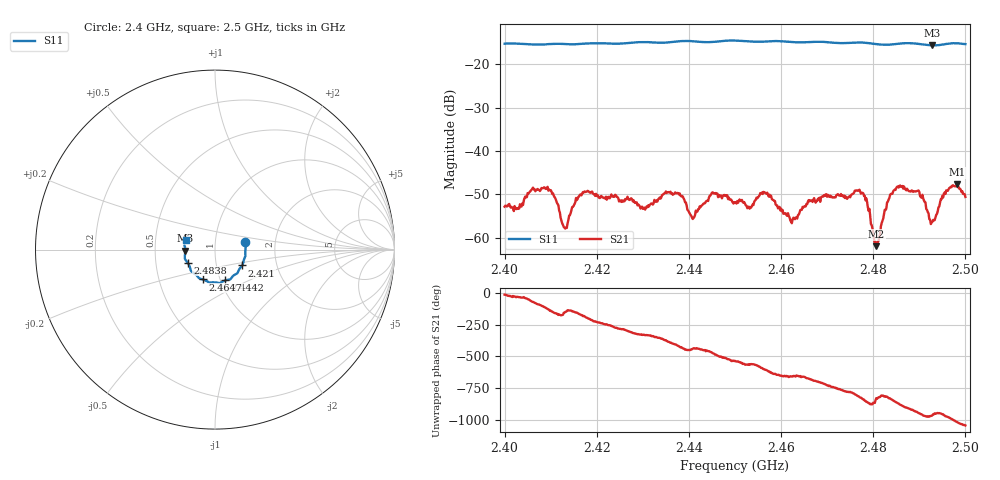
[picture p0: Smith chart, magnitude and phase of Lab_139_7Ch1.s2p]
# Hz S RI R 50
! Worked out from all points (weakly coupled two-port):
!   601 points, 2.4 GHz to 2.5 GHz, reference 50 ohm
!   highest |S21| = -47.63 dB at 2.4982 GHz (marker M1); lowest = -61.9 dB at 2.4807 GHz (marker M2)
!   lowest |S11| = -15.6 dB at 2.4928 GHz (marker M3), VSWR 1.40, Z = 35.8 - j0.377 ohm
!   |S11| at or under -10 dB: start of sweep to end of sweep
!   S12 and S22 are empty: the file has one direction only
!   S11 on the Smith chart (normalised r, x): 2.4 GHz: 1.40, +0.12; 2.421 GHz: 1.33, -0.24; 2.4442 GHz: 1.05, -0.37; 2.4647 GHz: 0.83, -0.29; 2.4838 GHz: 0.73, -0.11; 2.5 GHz: 0.72, +0.08
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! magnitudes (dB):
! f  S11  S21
! 2.4 GHz  -15.2  -52.8
! 2.4088 GHz  -15.4  -48.6
! 2.4132 GHz  -15.3  -57.9
! 2.4167 GHz  -15.3  -50.2
! 2.421 GHz  -15.1  -50.3
! 2.4333 GHz  -15.0  -51.1
! 2.4375 GHz  -14.7  -49.6
! 2.4408 GHz  -14.6  -55.6
! 2.4442 GHz  -14.9  -51.5
! 2.45 GHz  -14.5  -51.9
! 2.4567 GHz  -14.7  -49.7
! 2.4625 GHz  -14.8  -55.7
! 2.4647 GHz  -14.9  -52.9
! 2.4667 GHz  -14.8  -51.4
! 2.4773 GHz  -15.0  -49.8
! 2.4807 GHz  -15.3  -61.9
! 2.4833 GHz  -15.5  -51.2
! 2.4838 GHz  -15.4  -49.9
! 2.4895 GHz  -15.2  -49.2
! 2.4928 GHz  -15.6  -56.3
! 2.4982 GHz  -15.1  -47.6
! 2.5 GHz  -15.3  -50.6
